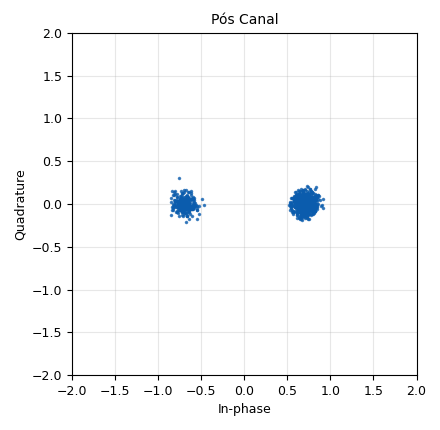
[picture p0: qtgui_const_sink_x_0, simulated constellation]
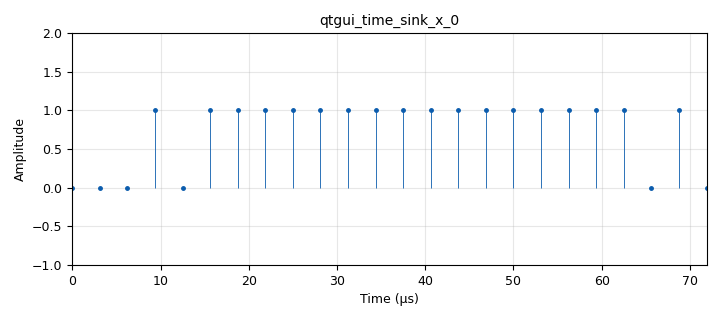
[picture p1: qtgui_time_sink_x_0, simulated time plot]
<?xml version='1.0' encoding='utf-8'?>
<?grc format='1' created='3.7.11'?>
<flow_graph>
<block>
<key>options</key>
<param><key>id</key><value>top_block</value></param>
<param><key>generate_options</key><value>qt_gui</value></param>
</block>
<block>
<key>variable</key>
<param><key>id</key><value>const</value></param>
<param><key>value</key><value>(digital.constellation_bpsk(), digital.constellation_qpsk(), digital.constellation_8psk())</value></param>
</block>
<block>
<key>variable</key>
<param><key>id</key><value>const_type</value></param>
<param><key>value</key><value>0</value></param>
</block>
<block>
<key>variable_qtgui_range</key>
<param><key>id</key><value>delay</value></param>
<param><key>value</key><value>0</value></param>
<param><key>orient</key><value>Qt.Horizontal</value></param>
<param><key>start</key><value>0</value></param>
<param><key>step</key><value>1</value></param>
<param><key>stop</key><value>24</value></param>
</block>
<block>
<key>variable_qtgui_range</key>
<param><key>id</key><value>freq_offset</value></param>
<param><key>value</key><value>0.000</value></param>
<param><key>label</key><value>Frequency Offset</value></param>
<param><key>orient</key><value>Qt.Horizontal</value></param>
<param><key>start</key><value>-0.1</value></param>
<param><key>step</key><value>0.001</value></param>
<param><key>stop</key><value>0.1</value></param>
</block>
<block>
<key>variable_qtgui_range</key>
<param><key>id</key><value>multiply</value></param>
<param><key>value</key><value>0.7</value></param>
<param><key>orient</key><value>Qt.Horizontal</value></param>
<param><key>start</key><value>0</value></param>
<param><key>step</key><value>0.05</value></param>
<param><key>stop</key><value>1.5</value></param>
</block>
<block>
<key>variable</key>
<param><key>id</key><value>samp_rate</value></param>
<param><key>value</key><value>320000</value></param>
</block>
<block>
<key>variable_qtgui_range</key>
<param><key>id</key><value>time_offset</value></param>
<param><key>value</key><value>1.0000</value></param>
<param><key>label</key><value>Timing Offset</value></param>
<param><key>orient</key><value>Qt.Horizontal</value></param>
<param><key>start</key><value>0.999</value></param>
<param><key>step</key><value>0.0001</value></param>
<param><key>stop</key><value>1.001</value></param>
</block>
<block>
<key>variable_qtgui_label</key>
<param><key>id</key><value>variable_qtgui_label_0</value></param>
<param><key>value</key><value>{0: 'BPSK', 1: 'QPSK', 2: '8-PSK'}[const_type] + " - Change const_type for different constellation types!"</value></param>
<param><key>label</key><value>Constellation Type</value></param>
<param><key>type</key><value>string</value></param>
</block>
<block>
<key>analog_random_source_x</key>
<param><key>id</key><value>analog_random_source_x_0</value></param>
<param><key>_enabled</key><value>0</value></param>
<param><key>max</key><value>256</value></param>
<param><key>min</key><value>0</value></param>
<param><key>num_samps</key><value>10</value></param>
<param><key>type</key><value>byte</value></param>
<param><key>repeat</key><value>True</value></param>
</block>
<block>
<key>blocks_delay</key>
<param><key>id</key><value>blocks_delay_0</value></param>
<param><key>delay</key><value>int(delay)</value></param>
<param><key>type</key><value>float</value></param>
</block>
<block>
<key>blocks_file_sink</key>
<param><key>id</key><value>blocks_file_sink_0</value></param>
<param><key>_enabled</key><value>0</value></param>
<param><key>file</key><value>/home/rcampello/Desktop/teste.data</value></param>
<param><key>type</key><value>byte</value></param>
</block>
<block>
<key>blocks_head</key>
<param><key>id</key><value>blocks_head_0</value></param>
<param><key>_enabled</key><value>0</value></param>
<param><key>num_items</key><value>100000</value></param>
<param><key>type</key><value>byte</value></param>
</block>
<block>
<key>blocks_multiply_const_vxx</key>
<param><key>id</key><value>blocks_multiply_const_vxx_0</value></param>
<param><key>comment</key><value>Alterar antes da transmissão.

- Não consegui reproduzir mesmo burst mudando o multiply,.
- O burst pode ser normal (artigo tx imagem).
- Tentar pegar mesmo resultado que antigamente (teste.Rafa),
e usar o interleaver + Hamming.</value></param>
<param><key>const</key><value>multiply</value></param>
<param><key>type</key><value>complex</value></param>
</block>
<block>
<key>blocks_skiphead</key>
<param><key>id</key><value>blocks_skiphead_0</value></param>
<param><key>_enabled</key><value>0</value></param>
<param><key>num_items</key><value>1000000</value></param>
<param><key>type</key><value>byte</value></param>
</block>
<block>
<key>blocks_throttle</key>
<param><key>id</key><value>blocks_throttle_0</value></param>
<param><key>samples_per_second</key><value>samp_rate</value></param>
<param><key>type</key><value>byte</value></param>
</block>
<block>
<key>blocks_uchar_to_float</key>
<param><key>id</key><value>blocks_uchar_to_float_1</value></param>
</block>
<block>
<key>blocks_unpack_k_bits_bb</key>
<param><key>id</key><value>blocks_unpack_k_bits_bb_0</value></param>
<param><key>k</key><value>8</value></param>
</block>
<block>
<key>blocks_vector_source_x</key>
<param><key>id</key><value>blocks_vector_source_x_0</value></param>
<param><key>type</key><value>byte</value></param>
<param><key>repeat</key><value>True</value></param>
<param><key>vector</key><value>(255, 66, 255)</value></param>
</block>
<block>
<key>channels_channel_model</key>
<param><key>id</key><value>channels_channel_model_0</value></param>
<param><key>epsilon</key><value>time_offset</value></param>
<param><key>freq_offset</key><value>freq_offset</value></param>
<param><key>noise_voltage</key><value>100e-3</value></param>
<param><key>seed</key><value>0</value></param>
<param><key>taps</key><value>1.0</value></param>
</block>
<block>
<key>digital_chunks_to_symbols_xx</key>
<param><key>id</key><value>digital_chunks_to_symbols_xx_0</value></param>
<param><key>dimension</key><value>1</value></param>
<param><key>in_type</key><value>byte</value></param>
<param><key>out_type</key><value>complex</value></param>
<param><key>symbol_table</key><value>const[const_type].points()</value></param>
</block>
<block>
<key>digital_constellation_decoder_cb</key>
<param><key>id</key><value>digital_constellation_decoder_cb_0_0</value></param>
<param><key>constellation</key><value>const[const_type].base()</value></param>
</block>
<block>
<key>digital_diff_decoder_bb</key>
<param><key>id</key><value>digital_diff_decoder_bb_0</value></param>
<param><key>_enabled</key><value>2</value></param>
<param><key>modulus</key><value>2</value></param>
</block>
<block>
<key>digital_diff_encoder_bb</key>
<param><key>id</key><value>digital_diff_encoder_bb_0</value></param>
<param><key>_enabled</key><value>2</value></param>
<param><key>modulus</key><value>2</value></param>
</block>
<block>
<key>import</key>
<param><key>id</key><value>import</value></param>
<param><key>import</key><value>import math</value></param>
</block>
<block>
<key>qtgui_const_sink_x</key>
<param><key>id</key><value>qtgui_const_sink_x_0</value></param>
<param><key>gui_hint</key><value>0, 0, 1, 1</value></param>
<param><key>name</key><value>"Pós Canal"</value></param>
<param><key>size</key><value>1024</value></param>
<param><key>type</key><value>complex</value></param>
</block>
<block>
<key>qtgui_time_sink_x</key>
<param><key>id</key><value>qtgui_time_sink_x_0</value></param>
<param><key>color1</key><value>"blue"</value></param>
<param><key>label1</key><value></value></param>
<param><key>marker1</key><value>0</value></param>
<param><key>style1</key><value>2</value></param>
<param><key>size</key><value>3*8</value></param>
<param><key>srate</key><value>samp_rate</value></param>
<param><key>stemplot</key><value>True</value></param>
<param><key>type</key><value>float</value></param>
<param><key>ymax</key><value>2</value></param>
</block>
<block>
<key>uhd_usrp_sink</key>
<param><key>id</key><value>uhd_usrp_sink_0</value></param>
<param><key>ant0</key><value>TX/RX</value></param>
<param><key>bw0</key><value>250e3</value></param>
<param><key>center_freq0</key><value>2.45e9</value></param>
<param><key>norm_gain0</key><value>False</value></param>
<param><key>gain0</key><value>30</value></param>
<param><key>clock_rate</key><value>0.0</value></param>
<param><key>dev_args</key><value>""</value></param>
<param><key>_enabled</key><value>0</value></param>
<param><key>type</key><value>fc32</value></param>
<param><key>samp_rate</key><value>samp_rate</value></param>
<param><key>hide_cmd_port</key><value>False</value></param>
<param><key>hide_lo_controls</key><value>True</value></param>
<param><key>sync</key><value></value></param>
<param><key>len_tag_name</key><value></value></param>
</block>
<block>
<key>uhd_usrp_source</key>
<param><key>id</key><value>uhd_usrp_source_1</value></param>
<param><key>ant0</key><value>TX/RX</value></param>
<param><key>bw0</key><value>250e3</value></param>
<param><key>center_freq0</key><value>2.45e9</value></param>
<param><key>dc_offs_enb0</key><value>""</value></param>
<param><key>iq_imbal_enb0</key><value>""</value></param>
<param><key>norm_gain0</key><value>False</value></param>
<param><key>gain0</key><value>30</value></param>
<param><key>clock_rate</key><value>0.0</value></param>
<param><key>dev_args</key><value>""</value></param>
<param><key>_enabled</key><value>0</value></param>
<param><key>type</key><value>fc32</value></param>
<param><key>samp_rate</key><value>samp_rate</value></param>
<param><key>hide_cmd_port</key><value>False</value></param>
<param><key>hide_lo_controls</key><value>True</value></param>
<param><key>sync</key><value></value></param>
</block>
<connection><source_block_id>blocks_delay_0</source_block_id><sink_block_id>qtgui_time_sink_x_0</sink_block_id><source_key>0</source_key><sink_key>0</sink_key></connection>
<connection><source_block_id>blocks_head_0</source_block_id><sink_block_id>blocks_file_sink_0</sink_block_id><source_key>0</source_key><sink_key>0</sink_key></connection>
<connection><source_block_id>blocks_multiply_const_vxx_0</source_block_id><sink_block_id>channels_channel_model_0</sink_block_id><source_key>0</source_key><sink_key>0</sink_key></connection>
<connection><source_block_id>blocks_skiphead_0</source_block_id><sink_block_id>blocks_head_0</sink_block_id><source_key>0</source_key><sink_key>0</sink_key></connection>
<connection><source_block_id>blocks_throttle_0</source_block_id><sink_block_id>blocks_unpack_k_bits_bb_0</sink_block_id><source_key>0</source_key><sink_key>0</sink_key></connection>
<connection><source_block_id>blocks_uchar_to_float_1</source_block_id><sink_block_id>blocks_delay_0</sink_block_id><source_key>0</source_key><sink_key>0</sink_key></connection>
<connection><source_block_id>blocks_unpack_k_bits_bb_0</source_block_id><sink_block_id>digital_diff_encoder_bb_0</sink_block_id><source_key>0</source_key><sink_key>0</sink_key></connection>
<connection><source_block_id>blocks_vector_source_x_0</source_block_id><sink_block_id>blocks_throttle_0</sink_block_id><source_key>0</source_key><sink_key>0</sink_key></connection>
<connection><source_block_id>channels_channel_model_0</source_block_id><sink_block_id>digital_constellation_decoder_cb_0_0</sink_block_id><source_key>0</source_key><sink_key>0</sink_key></connection>
<connection><source_block_id>channels_channel_model_0</source_block_id><sink_block_id>qtgui_const_sink_x_0</sink_block_id><source_key>0</source_key><sink_key>0</sink_key></connection>
<connection><source_block_id>digital_chunks_to_symbols_xx_0</source_block_id><sink_block_id>blocks_multiply_const_vxx_0</sink_block_id><source_key>0</source_key><sink_key>0</sink_key></connection>
<connection><source_block_id>digital_constellation_decoder_cb_0_0</source_block_id><sink_block_id>digital_diff_decoder_bb_0</sink_block_id><source_key>0</source_key><sink_key>0</sink_key></connection>
<connection><source_block_id>digital_diff_decoder_bb_0</source_block_id><sink_block_id>blocks_skiphead_0</sink_block_id><source_key>0</source_key><sink_key>0</sink_key></connection>
<connection><source_block_id>digital_diff_decoder_bb_0</source_block_id><sink_block_id>blocks_uchar_to_float_1</sink_block_id><source_key>0</source_key><sink_key>0</sink_key></connection>
<connection><source_block_id>digital_diff_encoder_bb_0</source_block_id><sink_block_id>digital_chunks_to_symbols_xx_0</sink_block_id><source_key>0</source_key><sink_key>0</sink_key></connection>
</flow_graph>
